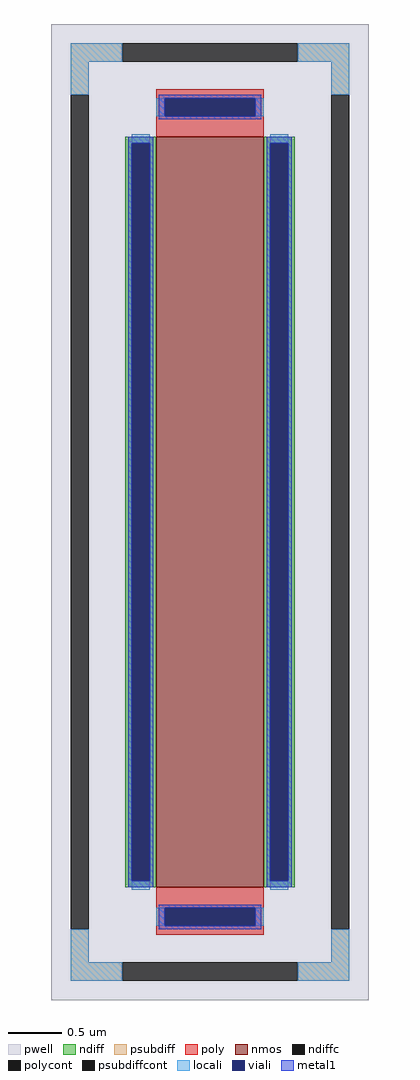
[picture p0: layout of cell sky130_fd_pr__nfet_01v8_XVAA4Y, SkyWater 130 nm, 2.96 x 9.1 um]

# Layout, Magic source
magic
tech sky130A
<< pwell >>
rect -148 -455 148 455
<< nmos >>
rect -50 -350 50 350
<< ndiff >>
rect -79 344 -50 350
rect -79 -344 -73 344
rect -56 -344 -50 344
rect -79 -350 -50 -344
rect 50 344 79 350
rect 50 -344 56 344
rect 73 -344 79 344
rect 50 -350 79 -344
<< ndiffc >>
rect -73 -344 -56 344
rect 56 -344 73 344
<< psubdiff >>
rect -130 420 -82 437
rect 82 420 130 437
rect -130 389 -113 420
rect 113 389 130 420
rect -130 -420 -113 -389
rect 113 -420 130 -389
rect -130 -437 -82 -420
rect 82 -437 130 -420
<< psubdiffcont >>
rect -82 420 82 437
rect -130 -389 -113 389
rect 113 -389 130 389
rect -82 -437 82 -420
<< poly >>
rect -50 386 50 394
rect -50 369 -42 386
rect 42 369 50 386
rect -50 350 50 369
rect -50 -369 50 -350
rect -50 -386 -42 -369
rect 42 -386 50 -369
rect -50 -394 50 -386
<< polycont >>
rect -42 369 42 386
rect -42 -386 42 -369
<< locali >>
rect -130 420 -82 437
rect 82 420 130 437
rect -130 389 -113 420
rect 113 389 130 420
rect -50 369 -42 386
rect 42 369 50 386
rect -73 344 -56 352
rect -73 -352 -56 -344
rect 56 344 73 352
rect 56 -352 73 -344
rect -50 -386 -42 -369
rect 42 -386 50 -369
rect -130 -420 -113 -389
rect 113 -420 130 -389
rect -130 -437 -82 -420
rect 82 -437 130 -420
<< viali >>
rect -42 369 42 386
rect -73 -344 -56 344
rect 56 -344 73 344
rect -42 -386 42 -369
<< metal1 >>
rect -48 386 48 389
rect -48 369 -42 386
rect 42 369 48 386
rect -48 366 48 369
rect -76 344 -53 350
rect -76 -344 -73 344
rect -56 -344 -53 344
rect -76 -350 -53 -344
rect 53 344 76 350
rect 53 -344 56 344
rect 73 -344 76 344
rect 53 -350 76 -344
rect -48 -369 48 -366
rect -48 -386 -42 -369
rect 42 -386 48 -369
rect -48 -389 48 -386
<< properties >>
string FIXED_BBOX -121 -428 121 428
string gencell sky130_fd_pr__nfet_01v8
string library sky130
string parameters w 7.0 l 1.0 m 1 nf 1 diffcov 100 polycov 100 guard 1 glc 1 grc 1 gtc 1 gbc 1 tbcov 100 rlcov 100 topc 1 botc 1 poverlap 0 doverlap 1 lmin 0.15 wmin 0.42 compatible {sky130_fd_pr__nfet_01v8 sky130_fd_pr__nfet_01v8_lvt  sky130_fd_bs_flash__special_sonosfet_star  sky130_fd_pr__nfet_g5v0d10v5 sky130_fd_pr__nfet_05v0_nvt  sky130_fd_pr__nfet_03v3_nvt} full_metal 1 viasrc 100 viadrn 100 viagate 100 viagb 0 viagr 0 viagl 0 viagt 0
<< end >>
